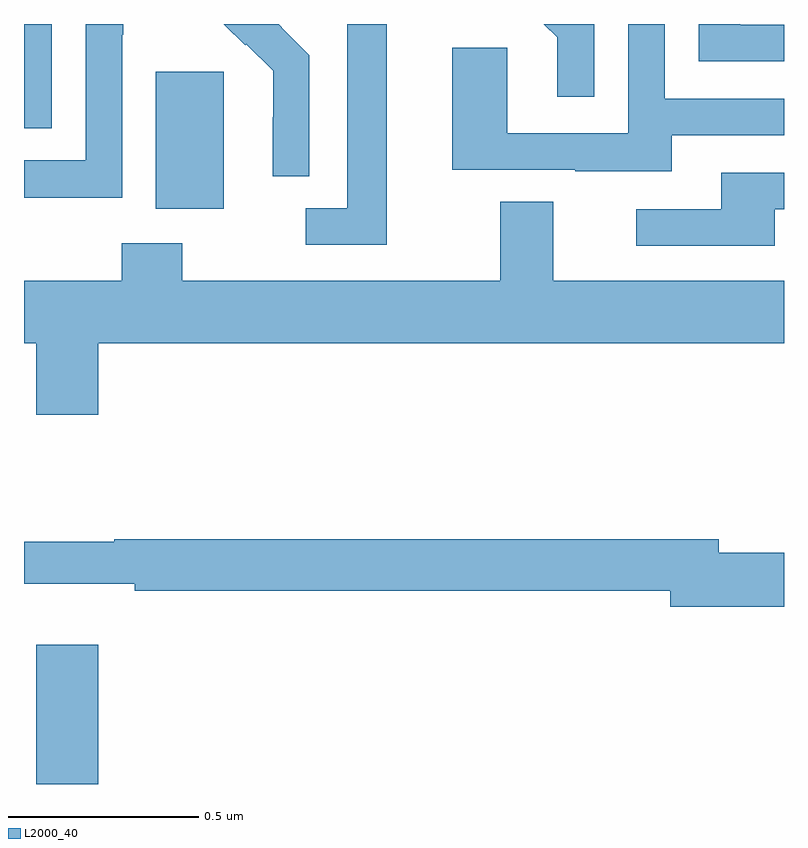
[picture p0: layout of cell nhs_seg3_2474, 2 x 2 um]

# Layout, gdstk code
import gdstk
lib = gdstk.Library(unit=1e-6, precision=1e-09)
def R(c, l, rs):  # rectangles x0, y0, x1, y1
    for r in rs: c.add(gdstk.rectangle(r[:2], r[2:], *l))
def P(c, l, *ps):  # polygons
    for p in ps: c.add(gdstk.Polygon(p, *l))
L2000_40 = (2000, 40)

nhs_seg3_2474 = lib.new_cell('nhs_seg3_2474')
R(nhs_seg3_2474, L2000_40, [(141.032,722.4,141.196,722.767), (141.347,723.914,141.526,724.275), (141,724.126,141.073,724.4)])
P(nhs_seg3_2474, L2000_40, [(141.258,724.372),(141.261,724.372),(141.261,724.4),(141.162,724.4),(141.162,724.041),(141,724.041),(141,723.943),(141.258,723.943)],
  [(141.75,724.318),(141.677,724.391),(141.678,724.392),(141.67,724.4),(141.526,724.4),(141.582,724.344),(141.585,724.347),(141.656,724.277),(141.656,724.154),(141.654,724.154),(141.654,724),(141.75,724)],
  [(143,724.398),(142.885,724.398),(142.885,724.4),(142.776,724.4),(142.776,724.302),(143,724.302)],
  [(142.705,724.107),(143,724.107),(143,724.203),(142.686,724.203),(142.686,724.4),(142.59,724.4),(142.59,724.113),(142.272,724.113),(142.272,724.337),(142.127,724.337),(142.127,724.017),(142.451,724.017),(142.451,724.013),(142.705,724.013)],
  [(141.955,724.4),(141.851,724.4),(141.851,723.915),(141.741,723.915),(141.741,723.819),(141.955,723.819)],
  [(142.5,724.4),(142.368,724.4),(142.403,724.365),(142.403,724.209),(142.5,724.209)],
  [(142.975,723.912),(143,723.912),(143,724.008),(142.835,724.008),(142.835,723.912),(142.611,723.912),(142.611,723.816),(142.975,723.816)],
  [(141.196,723.56),(143,723.56),(143,723.724),(142.393,723.724),(142.393,723.932),(142.253,723.932),(142.253,723.724),(141.417,723.724),(141.417,723.823),(141.257,723.823),(141.257,723.724),(141,723.724),(141,723.56),(141.032,723.56),(141.032,723.372),(141.196,723.372)],
  [(143,723.008),(142.828,723.008),(142.828,723.044),(141.238,723.044),(141.238,723.037),(141,723.037),(141,722.927),(141.292,722.927),(141.292,722.908),(142.7,722.908),(142.7,722.866),(143,722.866)])

lib.write_gds('nhs_seg3_2474.gds')
